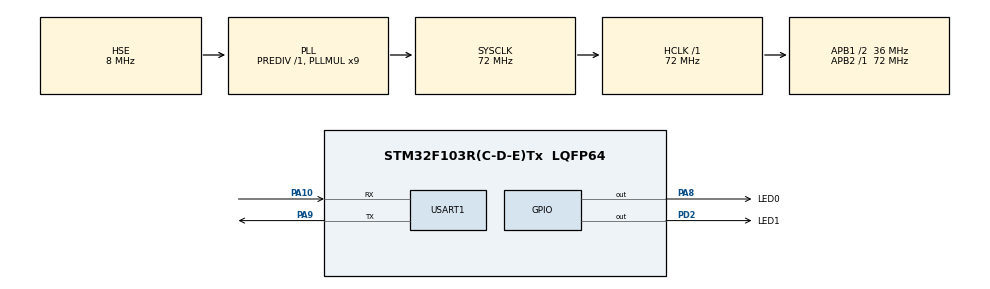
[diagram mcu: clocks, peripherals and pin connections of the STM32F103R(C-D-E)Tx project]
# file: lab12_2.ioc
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FREERTOS.Tasks01=MailProducer,0,128,MailProducerTask,Default,NULL,Dynamic,NULL,NULL;MailConsumer,0,128,MailConsumerTask,Default,NULL,Dynamic,NULL,NULL
Mcu.Family=STM32F1
Mcu.Name=STM32F103R(C-D-E)Tx
Mcu.Package=LQFP64
NVIC.PriorityGroup=NVIC_PRIORITYGROUP_4
NVIC.TIM3_IRQn=true\:0\:0\:false\:false\:true\:false\:false\:true
NVIC.TimeBase=TIM3_IRQn
NVIC.TimeBaseIP=TIM3
NVIC.USART1_IRQn=true\:5\:0\:false\:false\:true\:true\:true\:true
PA10.Mode=Asynchronous
PA10.Signal=USART1_RX
PA13.Mode=Serial_Wire
PA13.Signal=SYS_JTMS-SWDIO
PA14.Mode=Serial_Wire
PA14.Signal=SYS_JTCK-SWCLK
PA8.GPIO_Label=LED0
PA8.Signal=GPIO_Output
PA9.Mode=Asynchronous
PA9.Signal=USART1_TX
PD0-OSC_IN.Mode=HSE-External-Oscillator
PD0-OSC_IN.Signal=RCC_OSC_IN
PD1-OSC_OUT.Mode=HSE-External-Oscillator
PD1-OSC_OUT.Signal=RCC_OSC_OUT
PD2.GPIO_Label=LED1
PD2.Signal=GPIO_Output
ProjectManager.HeapSize=0x200
ProjectManager.StackSize=0x400
ProjectManager.TargetToolchain=SW4STM32
RCC.AHBFreq_Value=72000000
RCC.APB1CLKDivider=RCC_HCLK_DIV2
RCC.APB1Freq_Value=36000000
RCC.APB1TimFreq_Value=72000000
RCC.APB2Freq_Value=72000000
RCC.APB2TimFreq_Value=72000000
RCC.HCLKFreq_Value=72000000
RCC.PLLMUL=RCC_PLL_MUL9
RCC.PLLSourceVirtual=RCC_PLLSOURCE_HSE
RCC.SYSCLKFreq_VALUE=72000000
RCC.SYSCLKSource=RCC_SYSCLKSOURCE_PLLCLK
RCC.USBFreq_Value=72000000
USART1.VirtualMode=VM_ASYNC
VP_FREERTOS_VS_CMSIS_V1.Mode=CMSIS_V1
VP_SYS_VS_tim3.Mode=TIM3
board=custom

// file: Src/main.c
/* USER CODE BEGIN Header */
/**
  ******************************************************************************
  * @file           : main.c
  * @brief          : Main program body
  ******************************************************************************
  * @attention
  *
  * <h2><center>&copy; Copyright (c) 2019 STMicroelectronics.
  * All rights reserved.</center></h2>
  *
  * This software component is licensed by ST under BSD 3-Clause license,
  * the "License"; You may not use this file except in compliance with the
  * License. You may obtain a copy of the License at:
  *                        opensource.org/licenses/BSD-3-Clause
  *
  ******************************************************************************
  */
/* USER CODE END Header */

#include "main.h"
#include "cmsis_os.h"
#include "usart.h"
#include "gpio.h"

void SystemClock_Config(void);
void MX_FREERTOS_Init(void);

int main(void)
{

  /* MCU Configuration--------------------------------------------------------*/

  /* Reset of all peripherals, Initializes the Flash interface and the Systick. */
  HAL_Init();

  /* Configure the system clock */
  SystemClock_Config();

  /* Initialize all configured peripherals */
  MX_GPIO_Init();
  MX_USART1_UART_Init();

  /* Call init function for freertos objects (in freertos.c) */
  MX_FREERTOS_Init();

  /* Start scheduler */
  osKernelStart();

  /* We should never get here as control is now taken by the scheduler */

  /* Infinite loop */
  while (1)
  {

  }
}

void SystemClock_Config(void)
{
  RCC_OscInitTypeDef RCC_OscInitStruct = {0};
  RCC_ClkInitTypeDef RCC_ClkInitStruct = {0};

  /** Initializes the CPU, AHB and APB busses clocks
  */
  RCC_OscInitStruct.OscillatorType = RCC_OSCILLATORTYPE_HSE;
  RCC_OscInitStruct.HSEState = RCC_HSE_ON;
  RCC_OscInitStruct.HSEPredivValue = RCC_HSE_PREDIV_DIV1;
  RCC_OscInitStruct.HSIState = RCC_HSI_ON;
  RCC_OscInitStruct.PLL.PLLState = RCC_PLL_ON;
  RCC_OscInitStruct.PLL.PLLSource = RCC_PLLSOURCE_HSE;
  RCC_OscInitStruct.PLL.PLLMUL = RCC_PLL_MUL9;
  if (HAL_RCC_OscConfig(&RCC_OscInitStruct) != HAL_OK)
  {
    Error_Handler();
  }
  /** Initializes the CPU, AHB and APB busses clocks
  */
  RCC_ClkInitStruct.ClockType = RCC_CLOCKTYPE_HCLK|RCC_CLOCKTYPE_SYSCLK
                              |RCC_CLOCKTYPE_PCLK1|RCC_CLOCKTYPE_PCLK2;
  RCC_ClkInitStruct.SYSCLKSource = RCC_SYSCLKSOURCE_PLLCLK;
  RCC_ClkInitStruct.AHBCLKDivider = RCC_SYSCLK_DIV1;
  RCC_ClkInitStruct.APB1CLKDivider = RCC_HCLK_DIV2;
  RCC_ClkInitStruct.APB2CLKDivider = RCC_HCLK_DIV1;

  if (HAL_RCC_ClockConfig(&RCC_ClkInitStruct, FLASH_LATENCY_2) != HAL_OK)
  {
    Error_Handler();
  }
}

void HAL_TIM_PeriodElapsedCallback(TIM_HandleTypeDef *htim)
{
  if (htim->Instance == TIM3) {
    HAL_IncTick();
  }
}

void Error_Handler(void)
{
}

/************************ (C) COPYRIGHT STMicroelectronics *****END OF FILE****/

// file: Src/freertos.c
/* USER CODE BEGIN Header */
/**
  ******************************************************************************
  * File Name          : freertos.c
  * Description        : Code for freertos applications
  ******************************************************************************
  * @attention
  *
  * <h2><center>&copy; Copyright (c) 2019 STMicroelectronics.
  * All rights reserved.</center></h2>
  *
  * This software component is licensed by ST under Ultimate Liberty license
  * SLA0044, the "License"; You may not use this file except in compliance with
  * the License. You may obtain a copy of the License at:
  *                             www.st.com/SLA0044
  *
  ******************************************************************************
  */
/* USER CODE END Header */

#include "FreeRTOS.h"
#include "task.h"
#include "main.h"
#include "cmsis_os.h"
#include "usart.h"
#include "string.h"

/* USER CODE BEGIN Variables */
typedef struct {
    uint16_t var;
} mailStruct;
osMailQId mail01Handle;

/* USER CODE END Variables */
osThreadId MailProducerHandle;
osThreadId MailConsumerHandle;

void MailProducerTask(void const *argument);

void MailConsumerTask(void const *argument);

void MX_FREERTOS_Init(void); /* (MISRA C 2004 rule 8.1) */

void MX_FREERTOS_Init(void) {

    /* USER CODE BEGIN RTOS_QUEUES */
    /* add queues, ... */
    osMailQDef(mail01, 4, mailStruct);
    mail01Handle = osMailCreate(osMailQ(mail01), NULL);

    /* USER CODE END RTOS_QUEUES */

    /* Create the thread(s) */
    /* definition and creation of MailProducer */
    osThreadDef(MailProducer, MailProducerTask, osPriorityNormal, 0, 128);
    MailProducerHandle = osThreadCreate(osThread(MailProducer), NULL);

    /* definition and creation of MailConsumer */
    osThreadDef(MailConsumer, MailConsumerTask, osPriorityNormal, 0, 128);
    MailConsumerHandle = osThreadCreate(osThread(MailConsumer), NULL);

}

void MailProducerTask(void const *argument) {

    mailStruct *mail;
    /* USER CODE BEGIN MailProducerTask */
    /* Infinite loop */
    int i = 1;
    char msg[50];
    for (;;) {
        mail = (mailStruct *) osMailAlloc(mail01Handle, osWaitForever);
        mail->var = i;
        if (osMailPut(mail01Handle, mail) == osErrorOS) {
            sprintf(msg, "Producer produced %d \t [fail]\r\n", i);
            HAL_UART_Transmit(&huart1, (uint8_t *) msg, strlen(msg), HAL_MAX_DELAY);
        } else {
            sprintf(msg, "Producer produced %d \t [success]\r\n", i);
            HAL_UART_Transmit(&huart1, (uint8_t *) msg, strlen(msg), HAL_MAX_DELAY);
            i++;
        }
        osDelay(1000);
    }
    /* USER CODE END MailProducerTask */
}

void MailConsumerTask(void const *argument) {
    /* USER CODE BEGIN MailConsumerTask */
    /* Infinite loop */
    osEvent event;
    mailStruct *pMail;
    char msg[25];
    for (;;) {
        osDelay(3000);
        event = osMailGet(mail01Handle, osWaitForever);
        if (event.status == osEventMail) {
            pMail = event.value.p;
            sprintf(msg, "Consumer consumed %d\r\n", pMail->var);
            HAL_UART_Transmit(&huart1, (uint8_t *) msg, strlen(msg), HAL_MAX_DELAY);
            osMailFree(mail01Handle, pMail);
        }
    }
    /* USER CODE END MailConsumerTask */
}

/************************ (C) COPYRIGHT STMicroelectronics *****END OF FILE****/
